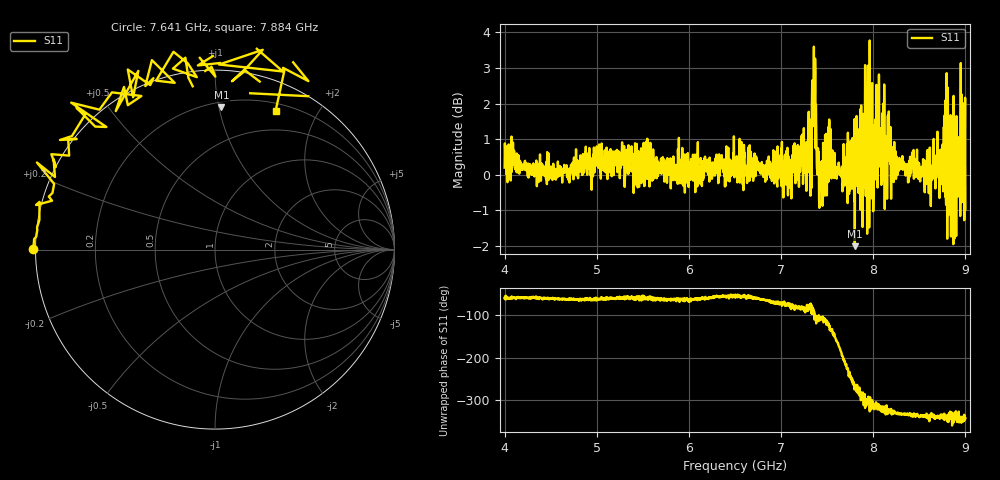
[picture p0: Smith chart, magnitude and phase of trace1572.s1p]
! Created with skrf 1.8.0 (http://scikit-rf.org).
# Hz S RI R 50.0
!freq ReS11 ImS11
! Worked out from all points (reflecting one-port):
!   1601 points, 4 GHz to 9 GHz, reference 50 ohm
!   lowest |S11| = -2.0 dB at 7.8 GHz (marker M1), VSWR 8.70, Z = 11.9 + j50.9 ohm
!   phase of S11 starts at -59 deg and turns -285 deg over the sweep
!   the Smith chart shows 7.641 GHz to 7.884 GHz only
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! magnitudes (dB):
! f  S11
! 4 GHz  0.2
! 4.625 GHz  -0.2
! 5.25 GHz  -0.1
! 5.875 GHz  0.2
! 6.5 GHz  0.2
! 7.097 GHz  0.2
! 7.125 GHz  0.4
! 7.297 GHz  1.2
! 7.359 GHz  2.2
! 7.4 GHz  0.7
! 7.428 GHz  -0.3
! 7.512 GHz  1.3
! 7.588 GHz  0.1
! 7.75 GHz  -0.3
! 7.8 GHz  -2.0
! 7.859 GHz  1.8
! 7.922 GHz  0.5
! 7.934 GHz  -1.7
! 8.05 GHz  1.3
! 8.066 GHz  0.5
! 8.097 GHz  0.4
! 8.375 GHz  0.2
! 8.622 GHz  -0.3
! 8.738 GHz  0.6
! 8.788 GHz  -0.6
! 8.875 GHz  1.1
! 8.972 GHz  0.7
! 9 GHz  -1.0
